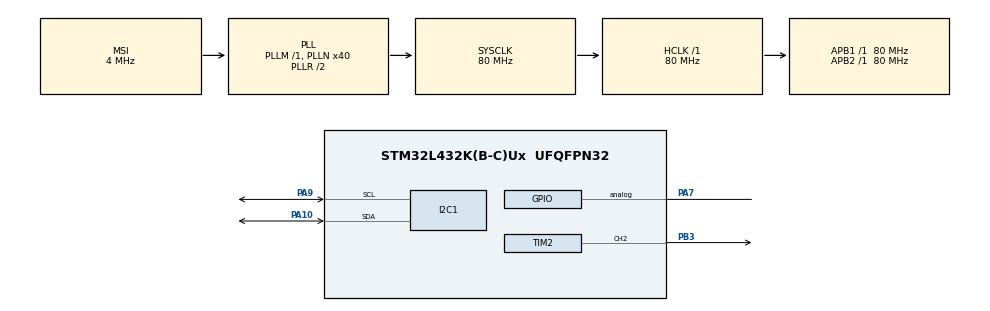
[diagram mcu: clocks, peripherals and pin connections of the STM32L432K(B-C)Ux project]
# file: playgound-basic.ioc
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FREERTOS.Tasks01=defaultTask,24,128,StartDefaultTask,Default,NULL,Dynamic,NULL,NULL
I2C1.CustomTiming=Disabled
I2C1.Timing=0x10909CEC
Mcu.Family=STM32L4
Mcu.Name=STM32L432K(B-C)Ux
Mcu.Package=UFQFPN32
NVIC.PriorityGroup=NVIC_PRIORITYGROUP_4
NVIC.TIM6_DAC_IRQn=true\:0\:0\:false\:false\:true\:false\:false\:true
NVIC.TimeBase=TIM6_DAC_IRQn
NVIC.TimeBaseIP=TIM6
PA10.Mode=I2C
PA10.Signal=I2C1_SDA
PA7.Signal=SharedAnalog_PA7
PA9.Mode=I2C
PA9.Signal=I2C1_SCL
PB3\ (JTDO-TRACESWO).Signal=S_TIM2_CH2
PC14-OSC32_IN\ (PC14).Mode=LSE-External-Oscillator
PC14-OSC32_IN\ (PC14).Signal=RCC_OSC32_IN
PC15-OSC32_OUT\ (PC15).Mode=LSE-External-Oscillator
PC15-OSC32_OUT\ (PC15).Signal=RCC_OSC32_OUT
ProjectManager.HeapSize=0x200
ProjectManager.StackSize=0x400
ProjectManager.TargetToolchain=STM32CubeIDE
RCC.AHBFreq_Value=80000000
RCC.APB1Freq_Value=80000000
RCC.APB1TimFreq_Value=80000000
RCC.APB2Freq_Value=80000000
RCC.APB2TimFreq_Value=80000000
RCC.CortexFreq_Value=80000000
RCC.HCLKFreq_Value=80000000
RCC.HSE_VALUE=8000000
RCC.HSI48_VALUE=48000000
RCC.HSI_VALUE=16000000
RCC.MSI_VALUE=4000000
RCC.PLLN=40
RCC.SYSCLKFreq_VALUE=80000000
RCC.SYSCLKSource=RCC_SYSCLKSOURCE_PLLCLK
RCC.VCOOutputFreq_Value=160000000
SH.S_TIM2_CH2.0=TIM2_CH2,PWM Generation2 CH2
SH.SharedAnalog_PA7.0=ADC1_IN12
SH.SharedAnalog_PA7.1=GPIO_Analog
TIM2.Channel-PWM\ Generation2\ CH2=TIM_CHANNEL_2
TIM2.Period=199
TIM2.Prescaler=79
TIM2.Pulse-PWM\ Generation2\ CH2=20
VP_FREERTOS_VS_CMSIS_V2.Mode=CMSIS_V2
VP_SYS_VS_tim6.Mode=TIM6
VP_TIM2_VS_ClockSourceINT.Mode=Internal
board=custom

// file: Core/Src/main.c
/* USER CODE BEGIN Header */
/**
  ******************************************************************************
  * @file           : main.c
  * @brief          : Main program body
  ******************************************************************************
  * @attention
  *
  * <h2><center>&copy; Copyright (c) 2020 STMicroelectronics.
  * All rights reserved.</center></h2>
  *
  * This software component is licensed by ST under BSD 3-Clause license,
  * the "License"; You may not use this file except in compliance with the
  * License. You may obtain a copy of the License at:
  *                        opensource.org/licenses/BSD-3-Clause
  *
  ******************************************************************************
  */
/* USER CODE END Header */
#include "main.h"
#include "cmsis_os.h"
#include "pca9685.h"

I2C_HandleTypeDef hi2c1;

TIM_HandleTypeDef htim2;

/* Definitions for defaultTask */
osThreadId_t defaultTaskHandle;
const osThreadAttr_t defaultTask_attributes = {
  .name = "defaultTask",
  .priority = (osPriority_t) osPriorityNormal,
  .stack_size = 128 * 4
};
/* USER CODE BEGIN PV */
/* Definitions for Task */
/*
osThreadId_t Task1Handle;
const osThreadAttr_t Task1_attributes = {
  .name = "Task1",
  .priority = (osPriority_t) osPriorityNormal,
  .stack_size = 128 * 4
};
*/
/* USER CODE END PV */

void SystemClock_Config(void);
static void MX_GPIO_Init(void);
static void MX_TIM2_Init(void);
static void MX_I2C1_Init(void);
void StartDefaultTask(void *argument);
//void StartTask1(void *argument);

/* USER CODE BEGIN PFP */
void pca9685_init(I2C_HandleTypeDef *hi2c, uint8_t address);
void pca9685_pwm(I2C_HandleTypeDef *hi2c, uint8_t address, uint8_t channel, uint16_t on, uint16_t off);
void upAndDown(uint8_t address, uint8_t channel);
void onOff(I2C_HandleTypeDef *hi2c, uint8_t address, uint16_t delay);
void turnOnAll(I2C_HandleTypeDef *hi2c, uint8_t address);
void turnOffAll(I2C_HandleTypeDef *hi2c, uint8_t address);

/* USER CODE END PFP */

int main(void)
{

  /* MCU Configuration--------------------------------------------------------*/

  /* Reset of all peripherals, Initializes the Flash interface and the Systick. */
  HAL_Init();

  /* Configure the system clock */
  SystemClock_Config();

  /* Initialize all configured peripherals */
  MX_GPIO_Init();
  MX_TIM2_Init();
  MX_I2C1_Init();
  /* USER CODE BEGIN 2 */
  HAL_TIM_PWM_Start(&htim2, TIM_CHANNEL_2);

  /* USER CODE END 2 */

  /* Init scheduler */
  osKernelInitialize();

  /* Create the thread(s) */
  /* creation of defaultTask */
  defaultTaskHandle = osThreadNew(StartDefaultTask, NULL, &defaultTask_attributes);

  /* USER CODE BEGIN RTOS_THREADS */
  /* add threads, ... */
  //Task1Handle = osThreadNew(StartTask1, NULL, &Task1_attributes);
  /* USER CODE END RTOS_THREADS */

  /* Start scheduler */
  osKernelStart();

  /* We should never get here as control is now taken by the scheduler */
  /* Infinite loop */
  while (1)
  {

  }
}

void SystemClock_Config(void)
{
  RCC_OscInitTypeDef RCC_OscInitStruct = {0};
  RCC_ClkInitTypeDef RCC_ClkInitStruct = {0};
  RCC_PeriphCLKInitTypeDef PeriphClkInit = {0};

  /** Configure LSE Drive Capability
  */
  HAL_PWR_EnableBkUpAccess();
  __HAL_RCC_LSEDRIVE_CONFIG(RCC_LSEDRIVE_LOW);
  /** Initializes the RCC Oscillators according to the specified parameters
  * in the RCC_OscInitTypeDef structure.
  */
  RCC_OscInitStruct.OscillatorType = RCC_OSCILLATORTYPE_LSE|RCC_OSCILLATORTYPE_MSI;
  RCC_OscInitStruct.LSEState = RCC_LSE_ON;
  RCC_OscInitStruct.MSIState = RCC_MSI_ON;
  RCC_OscInitStruct.MSICalibrationValue = 0;
  RCC_OscInitStruct.MSIClockRange = RCC_MSIRANGE_6;
  RCC_OscInitStruct.PLL.PLLState = RCC_PLL_ON;
  RCC_OscInitStruct.PLL.PLLSource = RCC_PLLSOURCE_MSI;
  RCC_OscInitStruct.PLL.PLLM = 1;
  RCC_OscInitStruct.PLL.PLLN = 40;
  RCC_OscInitStruct.PLL.PLLP = RCC_PLLP_DIV7;
  RCC_OscInitStruct.PLL.PLLQ = RCC_PLLQ_DIV2;
  RCC_OscInitStruct.PLL.PLLR = RCC_PLLR_DIV2;
  if (HAL_RCC_OscConfig(&RCC_OscInitStruct) != HAL_OK)
  {
    Error_Handler();
  }
  /** Initializes the CPU, AHB and APB buses clocks
  */
  RCC_ClkInitStruct.ClockType = RCC_CLOCKTYPE_HCLK|RCC_CLOCKTYPE_SYSCLK
                              |RCC_CLOCKTYPE_PCLK1|RCC_CLOCKTYPE_PCLK2;
  RCC_ClkInitStruct.SYSCLKSource = RCC_SYSCLKSOURCE_PLLCLK;
  RCC_ClkInitStruct.AHBCLKDivider = RCC_SYSCLK_DIV1;
  RCC_ClkInitStruct.APB1CLKDivider = RCC_HCLK_DIV1;
  RCC_ClkInitStruct.APB2CLKDivider = RCC_HCLK_DIV1;

  if (HAL_RCC_ClockConfig(&RCC_ClkInitStruct, FLASH_LATENCY_4) != HAL_OK)
  {
    Error_Handler();
  }
  PeriphClkInit.PeriphClockSelection = RCC_PERIPHCLK_I2C1;
  PeriphClkInit.I2c1ClockSelection = RCC_I2C1CLKSOURCE_PCLK1;
  if (HAL_RCCEx_PeriphCLKConfig(&PeriphClkInit) != HAL_OK)
  {
    Error_Handler();
  }
  /** Configure the main internal regulator output voltage
  */
  if (HAL_PWREx_ControlVoltageScaling(PWR_REGULATOR_VOLTAGE_SCALE1) != HAL_OK)
  {
    Error_Handler();
  }
  /** Enable MSI Auto calibration
  */
  HAL_RCCEx_EnableMSIPLLMode();
}

static void MX_I2C1_Init(void)
{

  hi2c1.Instance = I2C1;
  hi2c1.Init.Timing = 0x10909CEC;
  hi2c1.Init.OwnAddress1 = 0;
  hi2c1.Init.AddressingMode = I2C_ADDRESSINGMODE_7BIT;
  hi2c1.Init.DualAddressMode = I2C_DUALADDRESS_DISABLE;
  hi2c1.Init.OwnAddress2 = 0;
  hi2c1.Init.OwnAddress2Masks = I2C_OA2_NOMASK;
  hi2c1.Init.GeneralCallMode = I2C_GENERALCALL_DISABLE;
  hi2c1.Init.NoStretchMode = I2C_NOSTRETCH_DISABLE;
  if (HAL_I2C_Init(&hi2c1) != HAL_OK)
  {
    Error_Handler();
  }
  /** Configure Analogue filter
  */
  if (HAL_I2CEx_ConfigAnalogFilter(&hi2c1, I2C_ANALOGFILTER_ENABLE) != HAL_OK)
  {
    Error_Handler();
  }
  /** Configure Digital filter
  */
  if (HAL_I2CEx_ConfigDigitalFilter(&hi2c1, 0) != HAL_OK)
  {
    Error_Handler();
  }

}

static void MX_TIM2_Init(void)
{

  TIM_ClockConfigTypeDef sClockSourceConfig = {0};
  TIM_MasterConfigTypeDef sMasterConfig = {0};
  TIM_OC_InitTypeDef sConfigOC = {0};

  htim2.Instance = TIM2;
  htim2.Init.Prescaler = 79;
  htim2.Init.CounterMode = TIM_COUNTERMODE_UP;
  htim2.Init.Period = 199;
  htim2.Init.ClockDivision = TIM_CLOCKDIVISION_DIV1;
  htim2.Init.AutoReloadPreload = TIM_AUTORELOAD_PRELOAD_DISABLE;
  if (HAL_TIM_Base_Init(&htim2) != HAL_OK)
  {
    Error_Handler();
  }
  sClockSourceConfig.ClockSource = TIM_CLOCKSOURCE_INTERNAL;
  if (HAL_TIM_ConfigClockSource(&htim2, &sClockSourceConfig) != HAL_OK)
  {
    Error_Handler();
  }
  if (HAL_TIM_PWM_Init(&htim2) != HAL_OK)
  {
    Error_Handler();
  }
  sMasterConfig.MasterOutputTrigger = TIM_TRGO_RESET;
  sMasterConfig.MasterSlaveMode = TIM_MASTERSLAVEMODE_DISABLE;
  if (HAL_TIMEx_MasterConfigSynchronization(&htim2, &sMasterConfig) != HAL_OK)
  {
    Error_Handler();
  }
  sConfigOC.OCMode = TIM_OCMODE_PWM1;
  sConfigOC.Pulse = 20;
  sConfigOC.OCPolarity = TIM_OCPOLARITY_HIGH;
  sConfigOC.OCFastMode = TIM_OCFAST_DISABLE;
  if (HAL_TIM_PWM_ConfigChannel(&htim2, &sConfigOC, TIM_CHANNEL_2) != HAL_OK)
  {
    Error_Handler();
  }
  HAL_TIM_MspPostInit(&htim2);

}

static void MX_GPIO_Init(void)
{
  GPIO_InitTypeDef GPIO_InitStruct = {0};

  /* GPIO Ports Clock Enable */
  __HAL_RCC_GPIOC_CLK_ENABLE();
  __HAL_RCC_GPIOA_CLK_ENABLE();
  __HAL_RCC_GPIOB_CLK_ENABLE();

  /*Configure GPIO pin : PA7 */
  GPIO_InitStruct.Pin = GPIO_PIN_7;
  GPIO_InitStruct.Mode = GPIO_MODE_ANALOG_ADC_CONTROL;
  GPIO_InitStruct.Pull = GPIO_NOPULL;
  HAL_GPIO_Init(GPIOA, &GPIO_InitStruct);

}

/* USER CODE BEGIN 4 */
void pca9685_init(I2C_HandleTypeDef *hi2c, uint8_t address)
{
	#define PCA9685_MODE1 0x00
	//reset
	uint8_t cmd = 0x06;
	HAL_I2C_Master_Transmit(hi2c, address, &cmd, 1, HAL_MAX_DELAY);
	uint8_t initStruct[2];
	uint8_t prescale = 0x03; // hardcoded
	HAL_I2C_Master_Transmit(hi2c, address, PCA9685_MODE1, 1, HAL_MAX_DELAY);
	uint8_t oldmode = 0; // hardcoded
	// HAL_I2C_Master_Receive(hi2c, address, &oldmode, 1, 1);
	uint8_t newmode = ((oldmode & 0x7F) | 0x10);
	initStruct[0] = PCA9685_MODE1;
	initStruct[1] = newmode;
	HAL_I2C_Master_Transmit(hi2c, address, initStruct, 2, HAL_MAX_DELAY);
	initStruct[1] = prescale;
	HAL_I2C_Master_Transmit(hi2c, address, initStruct, 2, HAL_MAX_DELAY);
	initStruct[1] = oldmode;
	HAL_I2C_Master_Transmit(hi2c, address, initStruct, 2, HAL_MAX_DELAY);
	osDelay(100);
	initStruct[1] = (oldmode | 0xA1);
	HAL_I2C_Master_Transmit(hi2c, address, initStruct, 2, HAL_MAX_DELAY);
}

void pca9685_pwm(I2C_HandleTypeDef *hi2c, uint8_t address, uint8_t channel, uint16_t on, uint16_t off)
{
	enum chn {CH1, CH2};
	for(int i=0; i<2; i++){
		uint8_t outputBuffer[5] = {0x06 + 4*i, on, (on >> 8), off, (off >> 8)};
		HAL_I2C_Master_Transmit(&hi2c1, address, outputBuffer, sizeof(outputBuffer), HAL_MAX_DELAY);
	}

	//uint8_t outputBuffer2[5] = {0x06 + 4*CH2, on, (on >> 8), off, (off >> 8)};
	//HAL_I2C_Master_Transmit(&hi2c1, address, outputBuffer2, sizeof(outputBuffer2), HAL_MAX_DELAY);
}

void turnOnAll(I2C_HandleTypeDef *hi2c, uint8_t address){
	uint8_t allOutputBuffer[2] = {ALL_LED_ON_H, 0x10};
	HAL_I2C_Master_Transmit(&hi2c1, address, allOutputBuffer, sizeof(allOutputBuffer), HAL_MAX_DELAY);
}
void turnOffAll(I2C_HandleTypeDef *hi2c, uint8_t address){
	uint8_t allOutputBuffer[2] = {ALL_LED_OFF_H, 0x10};
	HAL_I2C_Master_Transmit(&hi2c1, address, allOutputBuffer, sizeof(allOutputBuffer), HAL_MAX_DELAY);
}
void upAndDown(uint8_t address, uint8_t channel){
	/* Infinite loop */
	//turn off all LED
	uint8_t allOutputBuffer[2] = {0xFD, 0x10};
	HAL_I2C_Master_Transmit(&hi2c1, address, allOutputBuffer, sizeof(allOutputBuffer), HAL_MAX_DELAY);
	//
	for(;;){
		for(int i=0; i<=255; i++){
			pca9685_pwm(&hi2c1, address, channel, 0, 4095-(16*i));
			osDelay(5);
		}
		for(int i=0; i<255; i++){
			pca9685_pwm(&hi2c1, address, channel, 0, (16*i));
			osDelay(5);
		}
	}
}

void onOff(I2C_HandleTypeDef *hi2c, uint8_t address, uint16_t delay){
	/* Infinite loop */
	for(;;){
		turnOnAll(&hi2c1, address);
		//pca9685_pwm(&hi2c1, address, channel, 0, 4095-(16*256));
		osDelay(delay);
		turnOffAll(&hi2c1, address);
		//pca9685_pwm(&hi2c1, address, channel, 0, (16*255));
		osDelay(delay);
	}
}
/* USER CODE END 4 */

void StartDefaultTask(void *argument)
{
  /* USER CODE BEGIN 5 */
	enum channel {CH1, CH2};
	uint8_t address = 0x80;
	pca9685_init(&hi2c1, address);
	//pca9685_pwm(&hi2c1, address, CH1, 0, 4095);
	//upAndDown(address, CH1);
	onOff(&hi2c1, address, 2000);
  /* USER CODE END 5 */
}

//void StartTask1(void *argument)
//{
  /* USER CODE BEGIN 5 */
//	enum channel {CH1, CH2};
//	uint8_t address = 0x80;
	//pca9685_init(&hi2c1, address);
//	pca9685_pwm(&hi2c1, address, CH2, 0, 4095);
//	upAndDown(address, CH2);
  /* USER CODE END 5 */
//}

 /**
  * @brief  Period elapsed callback in non blocking mode
  * @note   This function is called  when TIM6 interrupt took place, inside
  * HAL_TIM_IRQHandler(). It makes a direct call to HAL_IncTick() to increment
  * a global variable "uwTick" used as application time base.
  * @param  htim : TIM handle
  * @retval None
  */
void HAL_TIM_PeriodElapsedCallback(TIM_HandleTypeDef *htim)
{
  if (htim->Instance == TIM6) {
    HAL_IncTick();
  }
}

void Error_Handler(void)
{
  __disable_irq();
  while (1)
  {
  }
}

/************************ (C) COPYRIGHT STMicroelectronics *****END OF FILE****/
